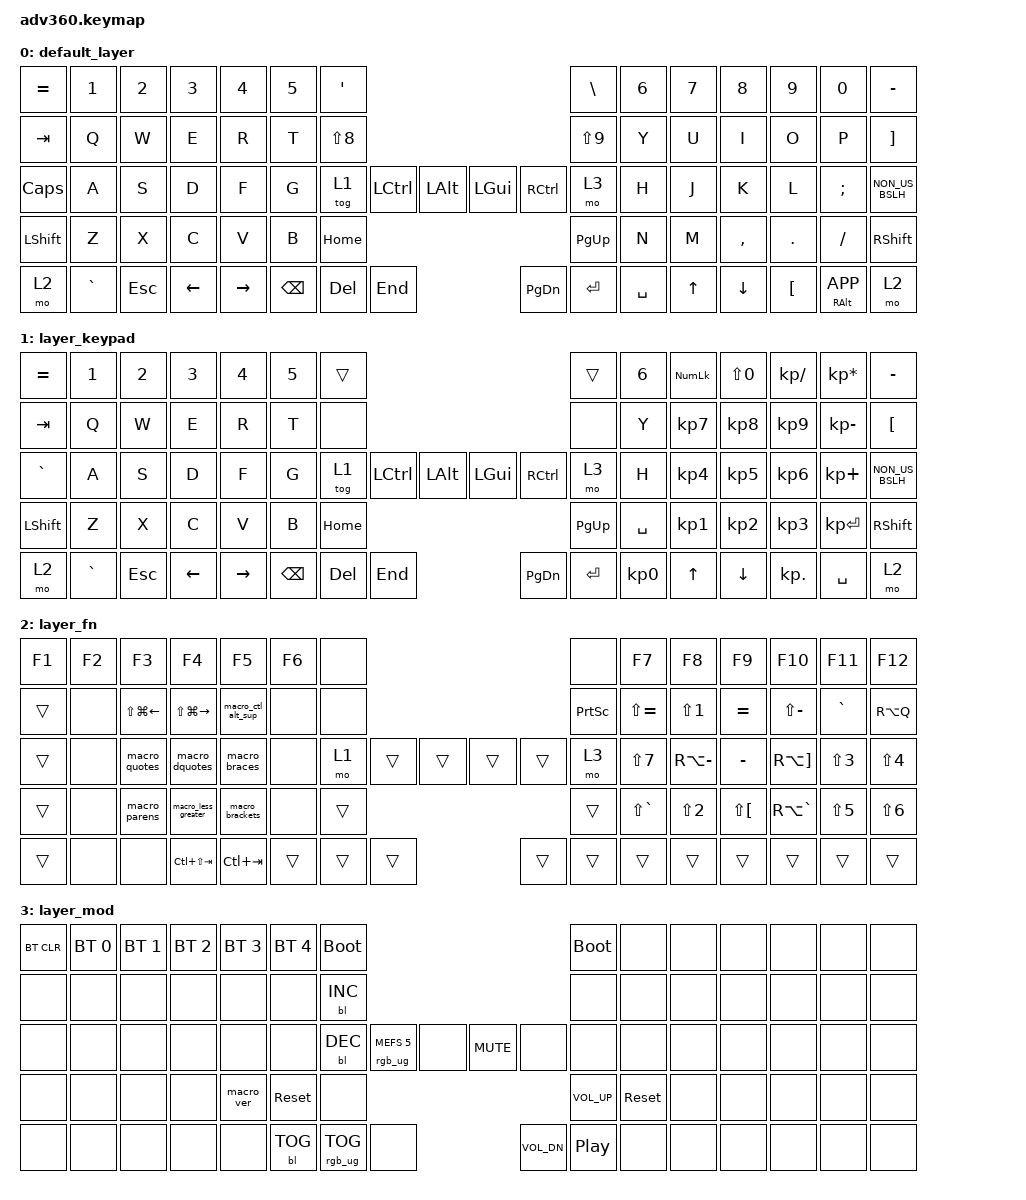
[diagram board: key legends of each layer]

/*
 * Copyright (c) 2020 The ZMK Contributors
 *
 * SPDX-License-Identifier: MIT
 */


/* THIS FILE WAS GENERATED!
 *
 * This file was generated automatically. You may or may not want to
 * edit it directly.
 */

#include <behaviors.dtsi>
#include <dt-bindings/zmk/keys.h>
#include <dt-bindings/zmk/bt.h>
#include <dt-bindings/zmk/backlight.h>
#include <dt-bindings/zmk/rgb.h>

/ {
  behaviors {
    #include "macros.dtsi"
    #include "version.dtsi"

    hm: homerow_mods {
        compatible = "zmk,behavior-hold-tap";
        label = "HOMEROW_MODS";
        #binding-cells = <2>;
        tapping-term-ms = <200>;
        quick_tap_ms = <175>;
        flavor = "tap-preferred";
        bindings = <&kp>, <&kp>;
    };
  };

    keymap {
        compatible = "zmk,keymap";


        default_layer {
            bindings = <
 &kp EQUAL     &kp N1   &kp N2    &kp N3     &kp N4  &kp N5                  &kp SQT                                                               &kp BSLH  &kp N6  &kp N7     &kp N8    &kp N9          &kp N0        &kp MINUS
   &kp TAB      &kp Q    &kp W     &kp E      &kp R   &kp T               &kp LS(N8)                                                             &kp LS(N9)   &kp Y   &kp U      &kp I     &kp O           &kp P         &kp RBKT
  &kp CAPS      &kp A    &kp S     &kp D      &kp F   &kp G                   &tog 1  &kp LCTRL  &kp LALT                   &kp LGUI  &kp RCTRL       &mo 3   &kp H   &kp J      &kp K     &kp L        &kp SEMI  &kp NON_US_BSLH
 &kp LSHFT      &kp Z    &kp X     &kp C      &kp V   &kp B                                      &kp HOME                  &kp PG_UP                          &kp N   &kp M  &kp COMMA   &kp DOT        &kp FSLH        &kp RSHFT
     &mo 2  &kp GRAVE  &kp ESC  &kp LEFT  &kp RIGHT                    &kp BACKSPACE    &kp DEL   &kp END                  &kp PG_DN  &kp ENTER   &kp SPACE          &kp UP   &kp DOWN  &kp LBKT  &mt RALT K_APP            &mo 2
            >;
        };

        layer_keypad {
            bindings = <
 &kp EQUAL     &kp N1   &kp N2    &kp N3     &kp N4  &kp N5              &trans                                                                &trans     &kp N6  &kp KP_NUM  &kp LS(N0)  &kp KP_DIVIDE  &kp KP_MULTIPLY        &kp MINUS
   &kp TAB      &kp Q    &kp W     &kp E      &kp R   &kp T               &none                                                                 &none      &kp Y   &kp KP_N7   &kp KP_N8      &kp KP_N9     &kp KP_MINUS         &kp LBKT
 &kp GRAVE      &kp A    &kp S     &kp D      &kp F   &kp G              &tog 1  &kp LCTRL  &kp LALT                   &kp LGUI  &kp RCTRL      &mo 3      &kp H   &kp KP_N4   &kp KP_N5      &kp KP_N6      &kp KP_PLUS  &kp NON_US_BSLH
 &kp LSHFT      &kp Z    &kp X     &kp C      &kp V   &kp B                                 &kp HOME                  &kp PG_UP                        &kp SPACE   &kp KP_N1   &kp KP_N2      &kp KP_N3     &kp KP_ENTER        &kp RSHFT
     &mo 2  &kp GRAVE  &kp ESC  &kp LEFT  &kp RIGHT                    &kp BSPC    &kp DEL   &kp END                  &kp PG_DN  &kp ENTER  &kp KP_N0                 &kp UP    &kp DOWN     &kp KP_DOT        &kp SPACE            &mo 2
            >;
        };

        layer_fn {
            bindings = <
 &kp F1  &kp F2            &kp F3               &kp F4              &kp F5  &kp F6             &none                                                      &none         &kp F7         &kp F8        &kp F9        &kp F10     &kp F11     &kp F12
 &trans   &none  &kp LS(LG(LEFT))    &kp LS(LG(RIGHT))  &macro_ctl_alt_sup   &none             &none                                                  &kp PSCRN  &kp LS(EQUAL)     &kp LS(N1)     &kp EQUAL  &kp LS(MINUS)   &kp GRAVE   &kp RA(Q)
 &trans   &none     &macro_quotes       &macro_dquotes       &macro_braces   &none             &mo 1  &trans  &trans                  &trans  &trans      &mo 3     &kp LS(N7)  &kp RA(MINUS)     &kp MINUS   &kp RA(RBKT)  &kp LS(N3)  &kp LS(N4)
 &trans   &none     &macro_parens  &macro_less_greater     &macro_brackets   &none                            &trans                  &trans                     &kp LS(GRAVE)     &kp LS(N2)  &kp LS(LBKT)  &kp RA(GRAVE)  &kp LS(N5)  &kp LS(N6)
 &trans   &none             &none      &kp LC(LS(TAB))         &kp LC(TAB)                    &trans  &trans  &trans                  &trans  &trans     &trans                        &trans        &trans         &trans      &trans      &trans
            >;
        };

        layer_mod {
            bindings = <
 &bt BT_CLR  &bt BT_SEL 0  &bt BT_SEL 1  &bt BT_SEL 2  &bt BT_SEL 3  &bt BT_SEL 4            &bootloader                                                                          &bootloader       &none   &none   &none   &none   &none   &none
      &none         &none         &none         &none         &none         &none             &bl BL_INC                                                                                &none       &none   &none   &none   &none   &none   &none
      &none         &none         &none         &none         &none         &none             &bl BL_DEC  &rgb_ug RGB_MEFS_CMD 5   &none                    &kp C_MUTE     &none        &none       &none   &none   &none   &none   &none   &none
      &none         &none         &none         &none    &macro_ver    &sys_reset                                                  &none                  &kp C_VOL_UP                         &sys_reset   &none   &none   &none   &none   &none
      &none         &none         &none         &none         &none                           &bl BL_TOG         &rgb_ug RGB_TOG   &none                  &kp C_VOL_DN  &kp C_PP        &none               &none   &none   &none   &none   &none
            >;
        };

    };
};
